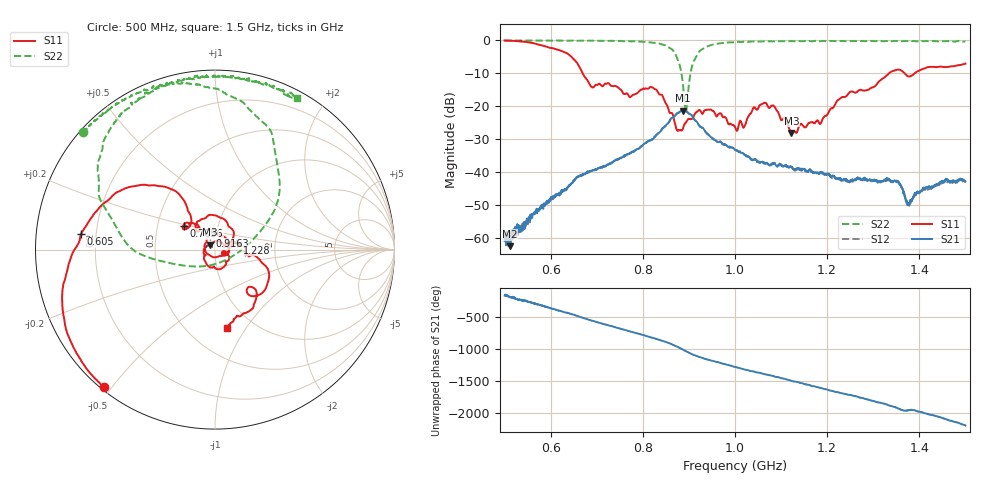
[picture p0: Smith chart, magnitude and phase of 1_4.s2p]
!Agilent Technologies,E8364B,US42250235,A.06.04.32
!Agilent E8364B: A.06.04.32
!Date: Friday, January 15, 2021 12:27:05
!Correction: S11(Full 2 Port(1,2)) S21(Full 2 Port(1,2)) S12(Full 2 Port(1,2)) S22(Full 2 Port(1,2))
!S2P File: Measurements: S11, S21, S12, S22:
# Hz S  dB  R 50
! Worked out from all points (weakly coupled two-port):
!   1601 points, 500 MHz to 1.5 GHz, reference 50 ohm
!   highest |S21| = -21.39 dB at 886.9 MHz (marker M1); lowest = -62.5 dB at 511.2 MHz (marker M2)
!   lowest |S11| = -28.2 dB at 1.123 GHz (marker M3), VSWR 1.08, Z = 47.3 + j2.67 ohm
!   |S11| at or under -10 dB: 669.1 MHz to 1.335 GHz (665.7 MHz wide, 66.4 % of centre); 1.367 GHz to 1.391 GHz (23.27 MHz wide, 1.69 % of centre)
!   |S22| runs from -22.3 to -0.1 dB; largest |S21 - S12| = 0.0016
!   S11 on the Smith chart (normalised r, x): 500 MHz: 0.01, -0.48; 605 MHz: 0.14, +0.06; 705.6 MHz: 0.68, +0.19; 916.2 MHz: 0.93, +0.14; 1.228 GHz: 1.28, +0.10; 1.5 GHz: 0.76, -0.82
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5e8  -0.12 -129.0  -60.41 -164.1  -61.25 -164.3  -0.14 138.4
5.1125e8  -0.18 -134.0  -62.50 176.9  -59.83 174.2  -0.15 137.3
6.05e8  -2.49 173.5  -47.89 -14.7  -48.24 -14.2  -0.19 128.1
6.41875e8  -4.70 142.9  -43.88 -86.3  -43.79 -86.3  -0.19 124.4
6.66875e8  -9.37 122.6  -40.84 -144.6  -41.15 -144.9  -0.17 121.9
7.05625e8  -13.22 142.5  -38.75 129.8  -38.73 129.1  -0.24 117.4
8.3375e8  -16.09 62.8  -28.28 -130.7  -28.25 -130.8  -1.01 88.2
8.69375e8  -25.17 -38.8  -23.04 134.7  -22.96 134.1  -3.98 57.9
8.86875e8  -26.86 -144.6  -21.39 72.0  -21.42 72.1  -13.27 14.4
8.94375e8  -24.79 176.3  -21.57 42.7  -21.56 42.8  -21.57 -95.7
9.05625e8  -23.93 136.2  -22.74 4.2  -22.75 3.7  -8.56 -173.3
9.1625e8  -21.86 110.6  -24.61 -26.9  -24.66 -28.0  -4.88 166.6
9.50625e8  -21.39 25.5  -29.91 -104.1  -29.58 -103.2  -1.39 137.2
1e9  -26.33 -33.3  -33.35 160.4  -33.14 160.0  -0.65 120.2
1.06375e9  -19.03 -71.2  -37.34 49.4  -37.12 49.3  -0.41 109.8
1.1225e9  -28.15 133.9  -38.37 -56.7  -38.62 -58.2  -0.30 102.3
1.166875e9  -24.86 26.4  -39.94 -137.5  -39.99 -135.0  -0.35 97.3
1.2275e9  -17.81 17.5  -42.06 114.5  -42.36 116.1  -0.32 90.6
1.33375e9  -10.11 -19.9  -42.11 -80.0  -42.58 -80.9  -0.29 80.6
1.355625e9  -8.93 -41.7  -43.26 -134.3  -43.12 -134.3  -0.36 78.6
1.375625e9  -11.01 -50.4  -49.37 -157.3  -50.13 -158.5  -0.34 76.3
1.5e9  -7.15 -81.4  -42.85 -34.1  -43.23 -34.7  -0.35 61.7
